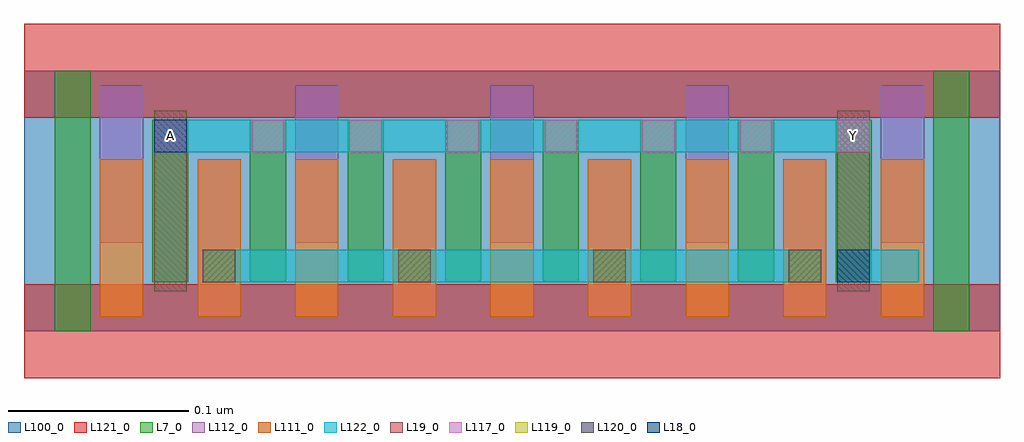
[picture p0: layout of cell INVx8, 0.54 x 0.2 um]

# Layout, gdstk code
import gdstk
lib = gdstk.Library(unit=1e-6, precision=2.5e-10)
def R(c, l, rs):  # rectangles x0, y0, x1, y1
    for r in rs: c.add(gdstk.rectangle(r[:2], r[2:], *l))
def A(c, l, x, y, w, h, nx, ny, dx, dy):  # array of equal rectangles
    R(c, l, [(x+i*dx, y+j*dy, x+i*dx+w, y+j*dy+h) for i in range(nx) for j in range(ny)])
L7_0 = (7, 0)
L18_0 = (18, 0)
L19_0 = (19, 0)
L100_0 = (100, 0)
L111_0 = (111, 0)
L112_0 = (112, 0)
L117_0 = (117, 0)
L119_0 = (119, 0)
L120_0 = (120, 0)
L121_0 = (121, 0)
L122_0 = (122, 0)

invx8 = lib.new_cell('INVx8')
A(invx8, L7_0, 0.071, 0.027, 0.02, 0.09, 8, 1, 0.054, 0)
R(invx8, L7_0, [(0.017,0,0.037,0.144), (0.503,0,0.523,0.144)])
R(invx8, L18_0, [(0.45,0.027,0.468,0.045), (0.072,0.099,0.09,0.117)])
R(invx8, L19_0, [(0.072,0.022,0.09,0.122), (0.45,0.022,0.468,0.122)])
R(invx8, L100_0, [(0,0,0.54,0.144)])
A(invx8, L111_0, 0.042, 0.008, 0.024, 0.087, 9, 1, 0.054, 0)
A(invx8, L112_0, 0.096, 0.008, 0.024, 0.087, 4, 1, 0.108, 0)
A(invx8, L112_0, 0.042, 0.049, 0.024, 0.087, 5, 1, 0.108, 0)
A(invx8, L117_0, 0.072, 0.099, 0.018, 0.018, 8, 1, 0.054, 0)
A(invx8, L119_0, 0.099, 0.027, 0.018, 0.018, 4, 1, 0.108, 0)
A(invx8, L120_0, 0.099, 0.027, 0.018, 0.018, 4, 1, 0.108, 0)
R(invx8, L121_0, [(0,-0.026,0.54,0.026), (0,0.118,0.54,0.17)])
R(invx8, L122_0, [(0.099,0.027,0.441,0.045), (0.45,0.027,0.495,0.045), (0.072,0.099,0.468,0.117)])
invx8.add(gdstk.Label('Y', (0.459,0.108), layer=19, texttype=251))
invx8.add(gdstk.Label('A', (0.081,0.108), layer=19, texttype=251))

lib.write_gds('INVx8.gds')
